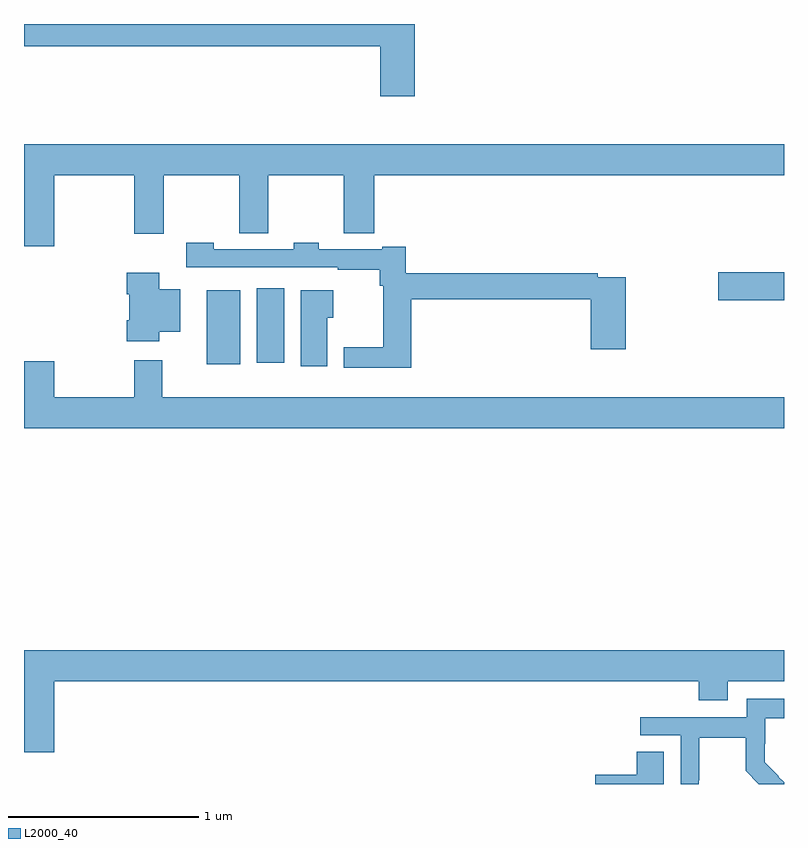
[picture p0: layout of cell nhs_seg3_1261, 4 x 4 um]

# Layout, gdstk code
import gdstk
lib = gdstk.Library(unit=1e-6, precision=1e-09)
def R(c, l, rs):  # rectangles x0, y0, x1, y1
    for r in rs: c.add(gdstk.rectangle(r[:2], r[2:], *l))
def P(c, l, *ps):  # polygons
    for p in ps: c.add(gdstk.Polygon(p, *l))
L2000_40 = (2000, 40)

nhs_seg3_1261 = lib.new_cell('nhs_seg3_1261')
R(nhs_seg3_1261, L2000_40, [(177.962,678.608,178.138,679), (178.226,678.617,178.369,679.009), (180.654,678.947,181,679.094)])
P(nhs_seg3_1261, L2000_40, [(179.057,680.4),(177,680.4),(177,680.284),(178.874,680.284),(178.874,680.019),(179.057,680.019)],
  [(177.16,679.604),(177.58,679.604),(177.58,679.296),(177.735,679.296),(177.735,679.604),(178.132,679.604),(178.132,679.3),(178.286,679.3),(178.286,679.604),(178.684,679.604),(178.684,679.3),(178.844,679.3),(178.844,679.604),(181,679.604),(181,679.768),(177,679.768),(177,679.23),(177.16,679.23)],
  [(179.039,678.952),(179.984,678.952),(179.984,678.687),(180.167,678.687),(180.167,679.068),(180.02,679.068),(180.02,679.088),(179.009,679.088),(179.009,679.228),(178.886,679.228),(178.886,679.215),(178.551,679.215),(178.551,679.248),(178.419,679.248),(178.419,679.215),(177.999,679.215),(177.999,679.248),(177.855,679.248),(177.855,679.119),(178.651,679.119),(178.651,679.107),(178.873,679.107),(178.873,679.022),(178.892,679.022),(178.892,678.7),(178.683,678.7),(178.683,678.59),(179.039,678.59)],
  [(177.712,678.779),(177.823,678.779),(177.823,679.003),(177.712,679.003),(177.712,679.09),(177.542,679.09),(177.542,678.977),(177.554,678.977),(177.554,678.841),(177.542,678.841),(177.542,678.729),(177.712,678.729)],
  [(178.597,678.853),(178.627,678.853),(178.627,679),(178.457,679),(178.457,678.6),(178.597,678.6)],
  [(181,678.436),(177.727,678.436),(177.727,678.631),(177.58,678.631),(177.58,678.436),(177.16,678.436),(177.16,678.625),(177,678.625),(177,678.272),(181,678.272)],
  [(177.16,676.94),(180.551,676.94),(180.551,676.841),(180.703,676.841),(180.703,676.94),(181,676.94),(181,677.104),(177,677.104),(177,676.566),(177.16,676.566)],
  [(180.552,676.42),(180.555,676.42),(180.555,676.644),(180.799,676.644),(180.799,676.469),(180.868,676.4),(181,676.4),(181,676.41),(180.971,676.439),(180.972,676.44),(180.898,676.514),(180.898,676.611),(180.9,676.611),(180.9,676.745),(181,676.745),(181,676.849),(180.804,676.849),(180.804,676.752),(180.243,676.752),(180.243,676.656),(180.456,676.656),(180.456,676.4),(180.552,676.4)],
  [(180.367,676.571),(180.224,676.571),(180.224,676.448),(180.006,676.448),(180.006,676.4),(180.367,676.4)])

lib.write_gds('nhs_seg3_1261.gds')
